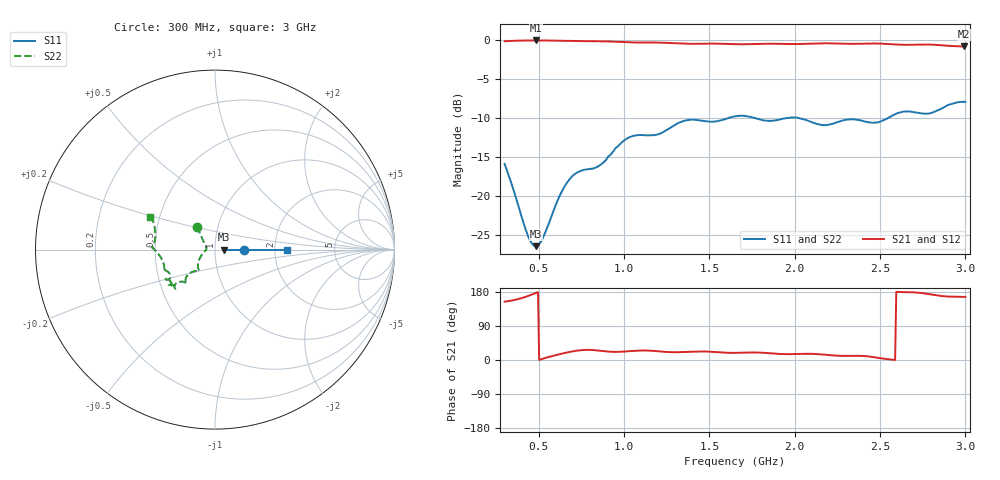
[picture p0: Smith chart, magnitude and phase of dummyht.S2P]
# GHz S MA R 50
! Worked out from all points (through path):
!   401 points, 300 MHz to 3 GHz, reference 50 ohm
!   highest |S21| = -0.01 dB at 482.2 MHz (marker M1); lowest = -0.8 dB at 2.993 GHz (marker M2)
!   lowest |S11| = -26.4 dB at 482.2 MHz (marker M3), VSWR 1.10, Z = 55 - j9.54e-17 ohm
!   |S11| at or under -10 dB: start of sweep to 1.604 GHz; 1.774 GHz to 1.94 GHz (166 MHz wide, 8.94 % of centre); 2.033 GHz to 2.543 GHz (509.7 MHz wide, 22.3 % of centre)
!   |S22| runs from -26.4 to -7.9 dB; largest |S21 - S12| = 0
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0.3  0.1618 -0.0  0.9868 153.9  0.9868 153.9  0.1618 127.7
0.3675  0.09719 0.0  0.9953 159.4  0.9953 159.4  0.09719 138.7
0.435  0.0565 -0.0  0.9984 168.5  0.9984 168.5  0.0565 157.0
0.48225  0.04798 -0.0  0.9988 176.8  0.9988 176.8  0.04798 173.5
0.516  0.05205 -0.0  0.9986 2.2  0.9986 2.2  0.05205 -175.6
0.651  0.1155 0.0  0.9933 18.4  0.9933 18.4  0.1155 -143.1
0.75225  0.1466 -0.0  0.9892 26.1  0.9892 26.1  0.1466 -127.9
0.86025  0.1588 0.0  0.9873 24.4  0.9873 24.4  0.1588 -131.3
0.94125  0.197 0.0  0.9804 21.5  0.9804 21.5  0.197 -137.0
1.029  0.2388 0.0  0.9711 23.2  0.9711 23.2  0.2388 -133.5
1.2045  0.2511 0.0  0.968 22.8  0.968 22.8  0.2511 -134.4
1.35975  0.3064 -0.0  0.9519 21.3  0.9519 21.3  0.3064 -137.5
1.65  0.3261 0.0  0.9453 18.9  0.9453 18.9  0.3261 -142.3
2.10225  0.2982 0.0  0.9545 16.3  0.9545 16.3  0.2982 -147.4
2.41275  0.3018 0.0  0.9534 10.4  0.9534 10.4  0.3018 -159.2
2.5545  0.3216 0.0  0.9469 1.5  0.9469 1.5  0.3216 -177.0
2.57475  0.3306 0.0  0.9438 0.6  0.9438 0.6  0.3306 -178.9
2.6085  0.343 0.0  0.9393 179.6  0.9393 179.6  0.343 179.1
2.72325  0.3425 0.0  0.9395 177.7  0.9395 177.7  0.3425 175.3
2.88525  0.3787 -0.0  0.9255 167.9  0.9255 167.9  0.3787 155.7
2.99325  0.4043 -0.0  0.9146 166.6  0.9146 166.6  0.4043 153.2
3  0.4036 -0.0  0.915 166.5  0.915 166.5  0.4036 153.1
